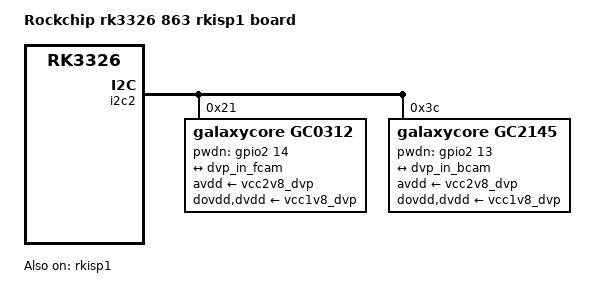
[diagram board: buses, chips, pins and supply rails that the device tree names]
// SPDX-License-Identifier: (GPL-2.0+ OR MIT)
/*
 * Copyright (c) 2019 Fuzhou Rockchip Electronics Co., Ltd
 */

/dts-v1/;
#include "rk3326-863-lp3-v10.dtsi"

/ {
	model = "Rockchip rk3326 863 rkisp1 board";
	compatible = "rockchip,rk3326-863-lp3-v10-rkisp1", "rockchip,rk3326";
};

&chosen {
	bootargs_ext = "androidboot.boot_devices=ff390000.dwmmc,ff3b0000.nandc";
};

&i2c2 {
	status = "okay";

	gc0312: gc0312@21 {
		status = "okay";
		compatible = "galaxycore,gc0312";
		reg = <0x21>;
		//pinctrl-names = "default";
		//pinctrl-0 = <&cif_clkout_m0>;

		clocks = <&cru SCLK_CIF_OUT>;
		clock-names = "xvclk";

		avdd-supply = <&vcc2v8_dvp>;
		dovdd-supply = <&vcc1v8_dvp>;
		dvdd-supply = <&vcc1v8_dvp>;

		pwdn-gpios = <&gpio2 14 GPIO_ACTIVE_HIGH>;
		rockchip,camera-module-index = <1>;
		rockchip,camera-module-facing = "front";
		rockchip,camera-module-name = "CameraKing";
		rockchip,camera-module-lens-name = "Largan";
		port {
			gc0312_out: endpoint {
				remote-endpoint = <&dvp_in_fcam>;
			};
		};
	};

	gc2145: gc2145@3c {
		status = "okay";
		compatible = "galaxycore,gc2145";
		reg = <0x3c>;
		//pinctrl-names = "default";
		//pinctrl-0 = <&cif_clkout_m0>;

		clocks = <&cru SCLK_CIF_OUT>;
		clock-names = "xvclk";

		avdd-supply = <&vcc2v8_dvp>;
		dovdd-supply = <&vcc1v8_dvp>;
		dvdd-supply = <&vcc1v8_dvp>;

		pwdn-gpios = <&gpio2 13 GPIO_ACTIVE_HIGH>;
		rockchip,camera-module-index = <0>;
		rockchip,camera-module-facing = "back";
		rockchip,camera-module-name = "CameraKing";
		rockchip,camera-module-lens-name = "Largan";
		port {
			gc2145_out: endpoint {
				remote-endpoint = <&dvp_in_bcam>;
			};
		};
	};
};

&isp_mmu {
	status = "okay";
};

&rkisp1 {
	status = "okay";
	pinctrl-names = "default";
	pinctrl-0 = <&dvp_d0d1_m0 &dvp_d2d9_m0>;

	ports {
		#address-cells = <1>;
		#size-cells = <0>;

		port@0 {
			reg = <0>;
			#address-cells = <1>;
			#size-cells = <0>;

			dvp_in_fcam: endpoint@0 {
				reg = <0>;
				remote-endpoint = <&gc0312_out>;
			};

			dvp_in_bcam: endpoint@1 {
				reg = <1>;
				remote-endpoint = <&gc2145_out>;
			};
		};
	};
};
